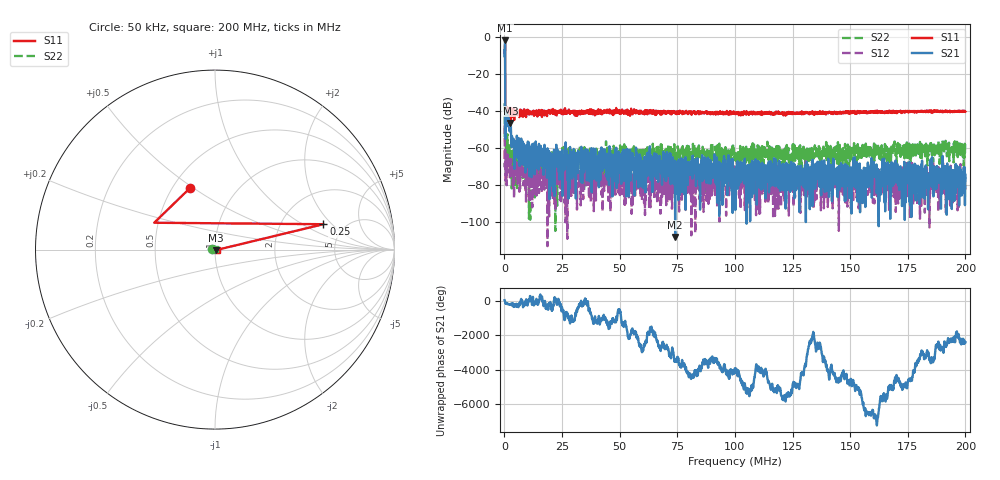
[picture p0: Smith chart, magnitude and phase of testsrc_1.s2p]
! 26-Feb-26 2:09:17 PM
! E:\VNA_MEASUREMENTS\CAL_ENDS\TESTSRC_1.S2P
! CHANNEL.1
! TR.MEASUREMENT
! CORRECTED.DATA
# GHZ S RI R 50.0
! FREQ.GHZ  S11RE  S11IM  S21RE  S21IM  S12RE  S12IM  S22RE  S22IM
!; PortSelection: Port_12
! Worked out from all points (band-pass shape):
!   2000 points, 50 kHz to 200 MHz, reference 50 ohm
!   highest |S21| = -1.97 dB at 250 kHz (marker M1); lowest = -108.1 dB at 74.07 MHz (marker M2)
!   |S21| within 3 dB of the highest: 216.6 kHz to 257.7 kHz (41.06 kHz wide, 17.3 % of centre)
!   lowest |S11| = -46.5 dB at 2.551 MHz (marker M3), VSWR 1.01, Z = 50.3 - j0.37 ohm
!   |S11| at or under -10 dB: 268 kHz to end of sweep
!   |S22| runs from -104.7 to -35.8 dB; largest |S21 - S12| = 0.8
!   S11 on the Smith chart (normalised r, x): 50 kHz: 0.61, +0.48; 250 kHz: 3.48, +1.60; 200 MHz: 1.02, -0.00
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5e-05  -0.1391 0.343  0.2553 0.3519  -2.45e-05 0.00412  -0.0159 0.00264
0.00025005  0.6037 0.1414  0.7941 -0.0702  -0.00101 0.000206  0.00155 -0.000959
0.001350325  0.00812 0.00149  -0.00531 -0.00027  -0.000386 0.000158  -0.000843 -0.000317
0.002550625  0.00302 -0.00368  -0.00313 0.000679  -5.55e-05 0.000362  0.000242 0.000477
0.003950975  0.00862 0.00466  -0.00147 -0.00049  -0.000181 -0.000181  -0.000315 9.78e-05
0.005251301  0.00792 -0.00231  0.000935 0.000539  0.000291 -0.000282  0.000597 0.000274
0.009052251  0.00858 0.0026  0.000178 -0.000125  -7.7e-05 -1.85e-05  -0.000151 -0.000343
0.01015253  0.0107 0.000755  -0.0004 -0.00144  2.13e-05 -0.000298  0.000405 -4.49e-05
0.01615403  0.00818 -0.000723  -0.000435 0.000862  5.27e-05 -3.28e-05  0.000215 -0.000632
0.02035508  0.0107 -0.00113  0.000132 -0.000655  -8.5e-06 0.000134  -0.000333 -2.16e-05
0.0224556  0.00825 -0.00114  0.000882 -0.000849  0.000135 -3.05e-05  -0.000261 -0.000716
0.02455613  0.00939 0.000574  6.97e-05 0.000197  2.59e-05 -2.02e-05  0.000551 -3.45e-05
0.03345835  0.0103 -0.000963  -0.000645 0.000629  8.95e-05 -0.000163  0.000404 0.000179
0.04096023  0.0102 -0.000537  -7.05e-05 -5.18e-05  0.000125 5.13e-05  0.00044 0.000353
0.04306075  0.00943 0.000152  7.67e-05 -0.000417  -2.07e-05 0.000129  0.000167 1.75e-05
0.06676668  0.00882 -2.16e-05  0.000134 -0.00032  -0.000251 -0.000143  0.000655 0.000378
0.07406851  0.00895 -0.000279  1.4e-06 3.7e-06  1.05e-05 9.5e-05  0.000178 0.000155
0.09047261  0.00872 0.000112  -0.000341 -0.000146  -6.83e-05 0.000125  0.000727 0.000124
0.100075  0.00826 -0.000763  0.000188 -7.7e-05  0.000119 -6.73e-05  0.000361 0.000319
0.1333833  0.00879 -0.000582  0.000131 1.07e-05  -4.7e-06 6.42e-05  8.62e-05 0.000241
0.1666917  0.00904 -0.00115  0.000207 0.000226  0.000146 0.000165  0.000579 0.000456
0.2  0.00959 -0.000264  -0.000102 0.00016  -7.52e-05 -5.8e-06  0.000582 0.00103
